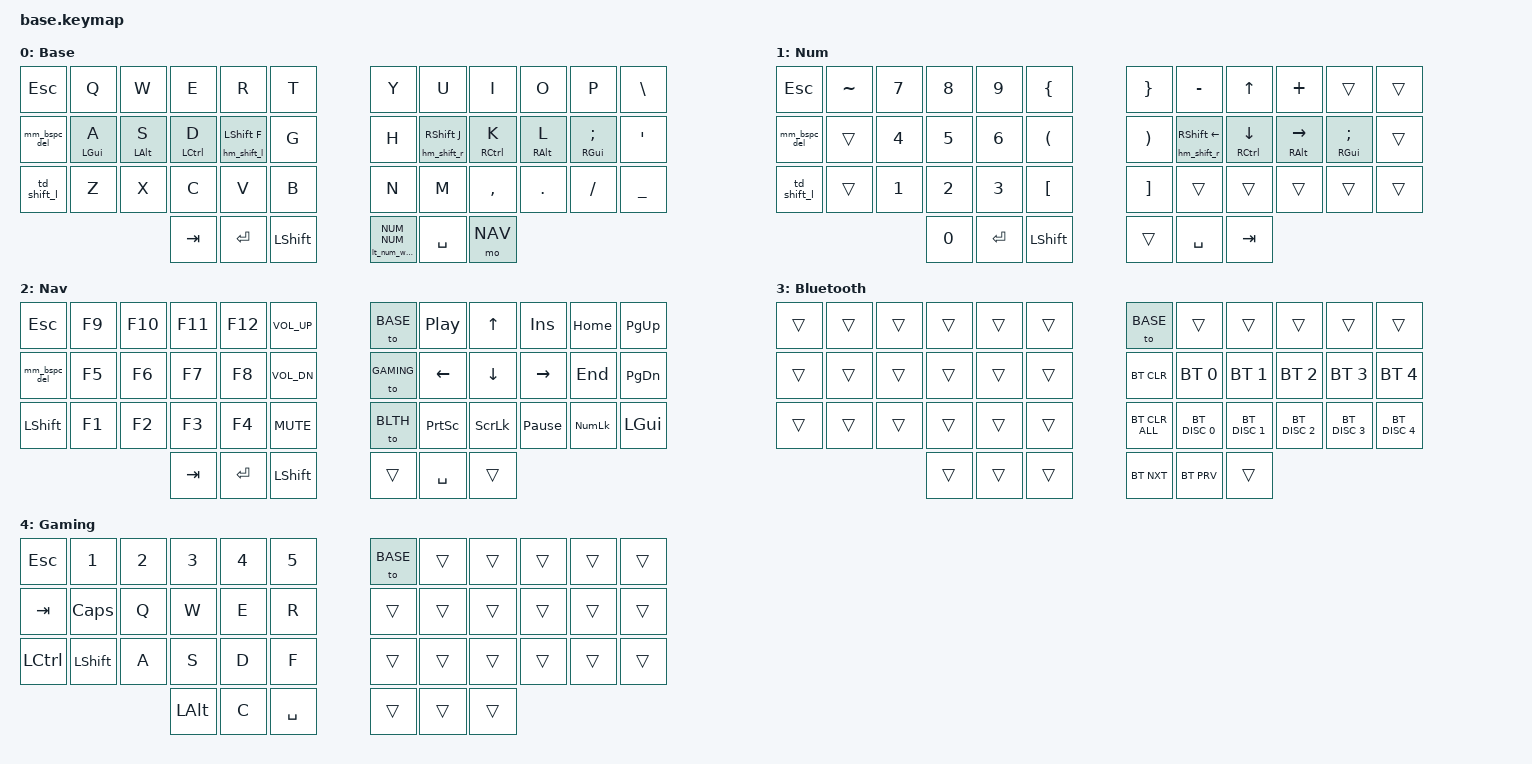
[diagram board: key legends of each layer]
/*
 * Copyright (c) 2020 The ZMK Contributors
 *
 * SPDX-License-Identifier: MIT
 */

// Define layer numbers
#define BASE 0
#define NUM 1
#define NAV 2
#define BLTH 3
#define GAMING 4


// ZMK includes
#include <behaviors.dtsi>
#include <dt-bindings/zmk/keys.h>
#include <dt-bindings/zmk/bt.h>

// Personal includes
#include "includes/settings.dtsi"
#include "includes/combos.dtsi"
#include "includes/behaviours_homerow_mods.dtsi"
#include "includes/behaviours_mod_morph.dtsi"
#include "includes/behaviours_other.dtsi"

/ {

  keymap {
    compatible = "zmk,keymap";



    Base_layer {
      display-name = "Base";
      bindings = <
// ╭────────────────────────┬────────────────────────┬────────────────────────┬────────────────────────┬────────────────────────┬────────────────────────╮    ╭────────────────────────┬────────────────────────┬────────────────────────┬───────────────────────┬────────────────────────┬────────────────────────╮
     &kp ESC                  &kp Q                    &kp W                    &kp E                    &kp R                    &kp T                         &kp Y                    &kp U                    &kp I                    &kp O                   &kp P                    &kp BACKSLASH
// ├────────────────────────┼────────────────────────┼────────────────────────┼────────────────────────┼────────────────────────┼────────────────────────┤    ├────────────────────────┼────────────────────────┼────────────────────────┼───────────────────────┼────────────────────────┼────────────────────────┤
     &mm_bspc_del             &hm_l LGUI A             &hm_l LALT S             &hm_l LCTRL D            &hm_shift_l LSHFT F      &kp G                         &kp H                    &hm_shift_r RSHFT J      &hm_r RCTRL K            &hm_r RALT L            &hm_r RGUI SEMI          &kp SINGLE_QUOTE
// ├────────────────────────┼────────────────────────┼────────────────────────┼────────────────────────┼────────────────────────┼────────────────────────┤    ├────────────────────────┼────────────────────────┼────────────────────────┼───────────────────────┼────────────────────────┼────────────────────────┤
     &td_shift_l              &kp Z                    &kp X                    &kp C                    &kp V                    &kp B                         &kp N                    &kp M                    &kp COMMA                &kp DOT                 &kp SLASH                &kp UNDERSCORE
// ╰────────────────────────┴────────────────────────┴────────────────────────┴────────────────────────┼────────────────────────┼────────────────────────┤    ├────────────────────────┼────────────────────────┼────────────────────────┼───────────────────────┼────────────────────────┼────────────────────────╯
                                                                                &kp TAB                  &kp ENTER                &kp LSHFT                     &lt_num_word NUM NUM     &kp SPACE                &mo NAV
//                                                                            ╰────────────────────────┴────────────────────────┴────────────────────────╯    ╰────────────────────────┴────────────────────────┴────────────────────────╯
      >;
    };    

    Num_layer {
      display-name = "Num";
      bindings = <
// ╭────────────────────────┬────────────────────────┬────────────────────────┬────────────────────────┬────────────────────────┬────────────────────────╮    ╭────────────────────────┬────────────────────────┬────────────────────────┬────────────────────────┬────────────────────────┬────────────────────────╮
     &kp ESC                  &kp TILDE                &kp N7                   &kp N8                   &kp N9                   &kp LBRC                      &kp RBRC                 &kp MINUS                &kp UP                   &kp PLUS                 &trans                   &trans
// ├────────────────────────┼────────────────────────┼────────────────────────┼────────────────────────┼────────────────────────┼────────────────────────┤    ├────────────────────────┼────────────────────────┼────────────────────────┼────────────────────────┼────────────────────────┼────────────────────────┤
     &mm_bspc_del             &trans                   &kp N4                   &kp N5                   &kp N6                   &kp LPAR                      &kp RPAR                 &hm_shift_r RSHFT LEFT   &hm_r RCTRL DOWN         &hm_r RALT RIGHT         &hm_r RGUI SEMI          &trans
// ├────────────────────────┼────────────────────────┼────────────────────────┼────────────────────────┼────────────────────────┼────────────────────────┤    ├────────────────────────┼────────────────────────┼────────────────────────┼────────────────────────┼────────────────────────┼────────────────────────┤
     &td_shift_l              &trans                   &kp N1                   &kp N2                   &kp N3                   &kp LBKT                      &kp RBKT                 &trans                   &trans                   &trans                   &trans                   &trans
// ╰────────────────────────┴────────────────────────┴────────────────────────┴────────────────────────┼────────────────────────┼────────────────────────┤    ├────────────────────────┼────────────────────────┼────────────────────────┼────────────────────────┴────────────────────────┼────────────────────────╯
                                                                                &kp N0                   &kp ENTER                &kp LSHFT                     &trans                   &kp SPACE                &kp TAB
//                                                                            ╰────────────────────────┴────────────────────────┴────────────────────────╯    ╰────────────────────────┴────────────────────────┴────────────────────────╯
      >;
    };    

    Nav_layer {
      display-name = "Nav";
      bindings = <
// ╭────────────────────────┬────────────────────────┬────────────────────────┬────────────────────────┬────────────────────────┬────────────────────────╮    ╭────────────────────────┬────────────────────────┬────────────────────────┬────────────────────────┬────────────────────────┬────────────────────────╮
     &kp ESC                  &kp F9                   &kp F10                  &kp F11                  &kp F12                  &kp C_VOL_UP                  &to BASE                 &kp C_PP                 &kp UP                   &kp INSERT               &kp HOME                 &kp PAGE_UP
// ├────────────────────────┼────────────────────────┼────────────────────────┼────────────────────────┼────────────────────────┼────────────────────────┤    ├────────────────────────┼────────────────────────┼────────────────────────┼────────────────────────┼────────────────────────┼────────────────────────┤
     &mm_bspc_del             &kp F5                   &kp F6                   &kp F7                   &kp F8                   &kp C_VOL_DN                  &to GAMING               &kp LEFT                 &kp DOWN                 &kp RIGHT                &kp END                  &kp PAGE_DOWN
// ├────────────────────────┼────────────────────────┼────────────────────────┼────────────────────────┼────────────────────────┼────────────────────────┤    ├────────────────────────┼────────────────────────┼────────────────────────┼────────────────────────┼────────────────────────┼────────────────────────┤
     &kp LSHFT                &kp F1                   &kp F2                   &kp F3                   &kp F4                   &kp C_MUTE                    &to BLTH                 &kp PSCRN                &kp SLCK                 &kp PAUSE_BREAK          &kp KP_NUMLOCK           &kp LEFT_GUI
// ╰────────────────────────┴────────────────────────┴────────────────────────┴────────────────────────┼────────────────────────┼────────────────────────┤    ├────────────────────────┼────────────────────────┼────────────────────────┼────────────────────────┴────────────────────────┼────────────────────────╯
                                                                                &kp TAB                  &kp ENTER                &kp LSHFT                     &trans                   &kp SPACE                &trans
//                                                                            ╰────────────────────────┴────────────────────────┴────────────────────────╯    ╰────────────────────────┴────────────────────────┴────────────────────────╯
      >;
    };

    BT_layer {
      display-name = "Bluetooth";
      bindings = <
// ╭────────────────────────┬────────────────────────┬────────────────────────┬────────────────────────┬────────────────────────┬────────────────────────╮    ╭────────────────────────┬────────────────────────┬────────────────────────┬────────────────────────┬────────────────────────┬────────────────────────╮
     &trans                   &trans                   &trans                   &trans                   &trans                   &trans                        &to BASE                 &trans                   &trans                   &trans                   &trans                   &trans
// ├────────────────────────┼────────────────────────┼────────────────────────┼────────────────────────┼────────────────────────┼────────────────────────┤    ├────────────────────────┼────────────────────────┼────────────────────────┼────────────────────────┼────────────────────────┼────────────────────────┤
     &trans                   &trans                   &trans                   &trans                   &trans                   &trans                        &bt BT_CLR               &bt BT_SEL 0             &bt BT_SEL 1             &bt BT_SEL 2             &bt BT_SEL 3             &bt BT_SEL 4
// ├────────────────────────┼────────────────────────┼────────────────────────┼────────────────────────┼────────────────────────┼────────────────────────┤    ├────────────────────────┼────────────────────────┼────────────────────────┼────────────────────────┼────────────────────────┼────────────────────────┤
     &trans                   &trans                   &trans                   &trans                   &trans                   &trans                        &bt BT_CLR_ALL           &bt BT_DISC 0            &bt BT_DISC 1            &bt BT_DISC 2            &bt BT_DISC 3            &bt BT_DISC 4
// ╰────────────────────────┴────────────────────────┴────────────────────────┴────────────────────────┼────────────────────────┼────────────────────────┤    ├────────────────────────┼────────────────────────┼────────────────────────┼────────────────────────┴────────────────────────┼────────────────────────╯
                                                                                &trans                   &trans                   &trans                        &bt BT_NXT               &bt BT_PRV               &trans
//                                                                            ╰────────────────────────┴────────────────────────┴────────────────────────╯    ╰────────────────────────┴────────────────────────┴────────────────────────╯
      >;
    };  

    Gaming_layer {
      display-name = "Gaming";
      bindings = <
// ╭────────────────────────┬────────────────────────┬────────────────────────┬────────────────────────┬────────────────────────┬────────────────────────╮    ╭────────────────────────┬────────────────────────┬────────────────────────┬────────────────────────┬────────────────────────┬────────────────────────╮
     &kp ESCAPE               &kp N1                   &kp N2                   &kp N3                   &kp N4                   &kp N5                        &to BASE                 &trans                   &trans                   &trans                   &trans                   &trans
// ├────────────────────────┼────────────────────────┼────────────────────────┼────────────────────────┼────────────────────────┼────────────────────────┤    ├────────────────────────┼────────────────────────┼────────────────────────┼────────────────────────┼────────────────────────┼────────────────────────┤
     &kp TAB                  &kp CAPS                 &kp Q                    &kp W                    &kp E                    &kp R                         &trans                   &trans                   &trans                   &trans                   &trans                   &trans
// ├────────────────────────┼────────────────────────┼────────────────────────┼────────────────────────┼────────────────────────┼────────────────────────┤    ├────────────────────────┼────────────────────────┼────────────────────────┼────────────────────────┼────────────────────────┼────────────────────────┤
     &kp LCTRL                &kp LSHFT                &kp A                    &kp S                    &kp D                    &kp F                         &trans                   &trans                   &trans                   &trans                   &trans                   &trans
// ╰────────────────────────┴────────────────────────┴────────────────────────┴────────────────────────┼────────────────────────┼────────────────────────┤    ├────────────────────────┼────────────────────────┼────────────────────────┼────────────────────────┴────────────────────────┼────────────────────────╯
                                                                                &kp LALT                 &kp C                    &kp SPACE                     &trans                   &trans                   &trans
//                                                                            ╰────────────────────────┴────────────────────────┴────────────────────────╯    ╰────────────────────────┴────────────────────────┴────────────────────────╯
      >;
    }; 

  };

};
